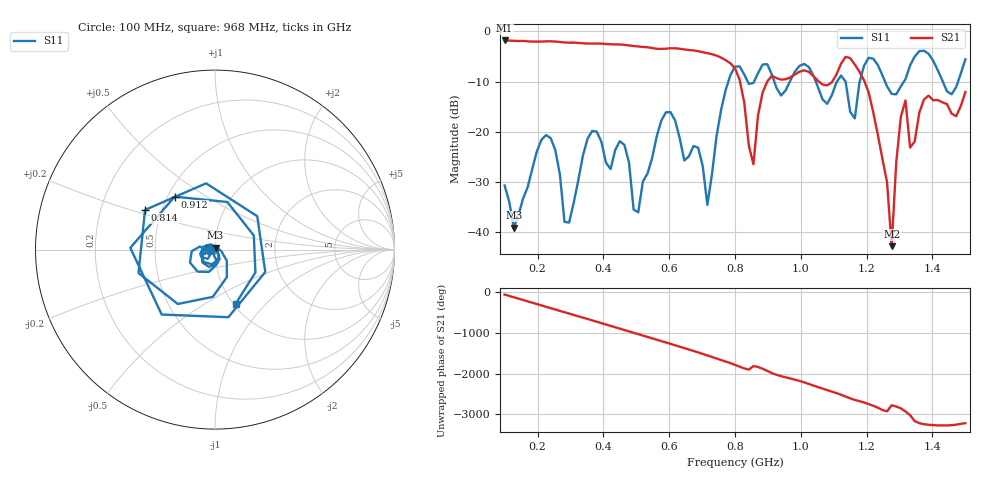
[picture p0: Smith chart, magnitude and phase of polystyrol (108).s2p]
! NanoVNA-App
! Date: 2025-09-25 15:30:44
! Start: 100MHz Stop: 1,5GHz Points: 101
! S-Parameter data: F S11 S21 S12 S22
# Hz S RI R 50
!  Frequency  S11_Real  S11_Imag  S21_Real  S21_Imag  S12_Real  S12_Imag  S22_Real  S22_Imag
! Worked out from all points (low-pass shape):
!   101 points, 100 MHz to 1.5 GHz, reference 50 ohm
!   highest |S21| = -1.80 dB at 100 MHz (marker M1); lowest = -42.8 dB at 1.276 GHz (marker M2)
!   |S21| within 3 dB of the highest: start of sweep to 743 MHz
!   lowest |S11| = -39.1 dB at 128 MHz (marker M3), VSWR 1.02, Z = 50.3 + j1.06 ohm
!   |S11| at or under -10 dB: start of sweep to 779.7 MHz; 1.046 GHz to 1.11 GHz (64.41 MHz wide, 5.98 % of centre); 1.256 GHz to 1.313 GHz (57.29 MHz wide, 4.46 % of centre)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
!   S12 and S22 are empty: the file has one direction only
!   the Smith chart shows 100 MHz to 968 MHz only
!   S11 on the Smith chart (normalised r, x): 100 MHz: 0.94, -0.01; 814 MHz: 0.40, +0.22; 912 MHz: 0.54, +0.37; 968 MHz: 1.02, -0.69
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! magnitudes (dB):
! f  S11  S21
! 100 MHz  -30.7  -1.8
! 128 MHz  -39.1  -1.9
! 212 MHz  -21.6  -2.0
! 282 MHz  -38.0  -2.2
! 338 MHz  -24.7  -2.4
! 464 MHz  -22.6  -2.7
! 506 MHz  -36.1  -3.0
! 576 MHz  -17.8  -3.5
! 688 MHz  -23.2  -3.9
! 716 MHz  -34.6  -4.3
! 800 MHz  -7.0  -7.3
! 814 MHz  -7.0  -9.6
! 856 MHz  -10.3  -26.5
! 912 MHz  -8.6  -8.9
! 968 MHz  -9.8  -9.2
! 1.038 GHz  -8.7  -8.9
! 1.164 GHz  -17.3  -6.6
! 1.192 GHz  -6.9  -9.7
! 1.276 GHz  -12.5  -42.8
! 1.318 GHz  -9.5  -13.8
! 1.332 GHz  -6.8  -23.1
! 1.5 GHz  -5.6  -12.1
